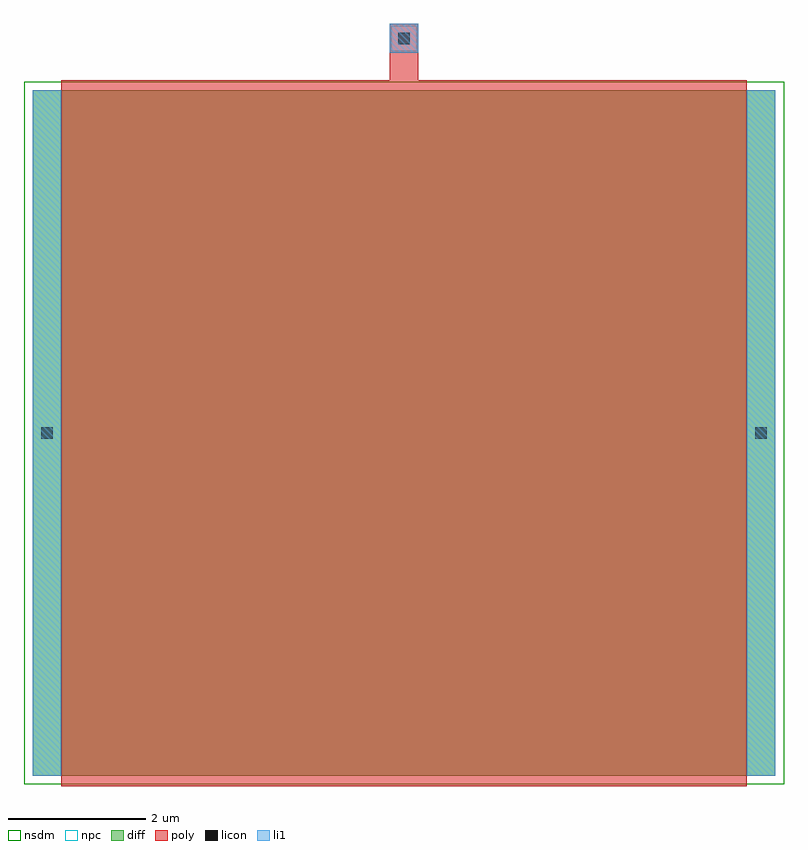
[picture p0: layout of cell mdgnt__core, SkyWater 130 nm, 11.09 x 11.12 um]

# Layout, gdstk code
import gdstk
lib = gdstk.Library(unit=1e-6, precision=1e-09)
def R(c, l, rs):  # rectangles x0, y0, x1, y1
    for r in rs: c.add(gdstk.rectangle(r[:2], r[2:], *l))
diff = (65, 20)
poly = (66, 20)
licon = (66, 44)
li1 = (67, 20)
nsdm = (93, 44)
npc = (95, 20)

mdgnt__core = lib.new_cell('mdgnt__core')
R(mdgnt__core, diff, [(0,0,10.84,10)])
R(mdgnt__core, poly, [(0.42,-0.15,10.42,10), (0.42,10,10.42,10.15), (0.42,10,10.42,10.15), (5.21,10.15,5.63,10.97)])
R(mdgnt__core, licon, [(0.125,4.915,0.295,5.085), (10.545,4.915,10.715,5.085), (5.335,10.675,5.505,10.845)])
R(mdgnt__core, li1, [(0,0,0.42,10), (10.42,0,10.84,10), (5.21,10.55,5.63,10.97)])
R(mdgnt__core, nsdm, [(-0.125,-0.125,10.965,10.125)])
R(mdgnt__core, npc, [(5.235,10.575,5.605,10.945)])

lib.write_gds('mdgnt__core.gds')
